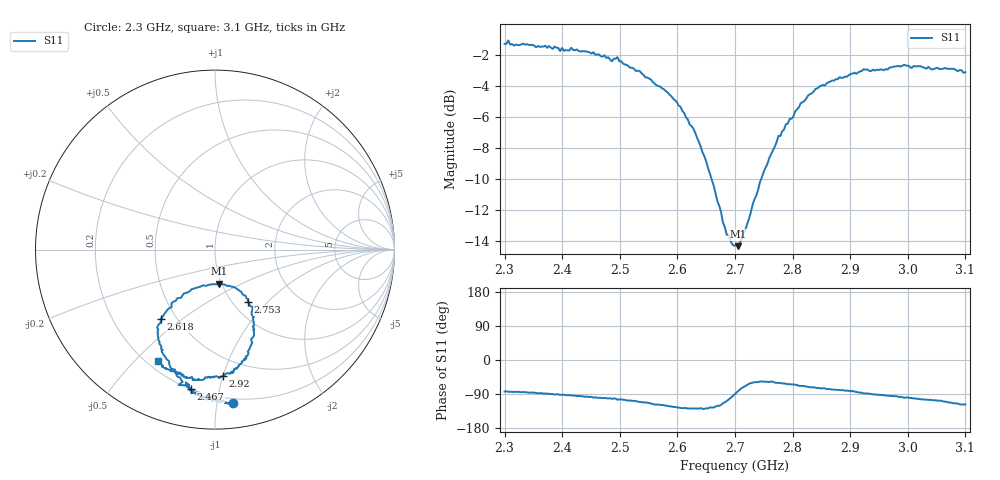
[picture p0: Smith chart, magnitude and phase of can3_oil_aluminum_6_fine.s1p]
# MHz S MA R 50
!  freq  S11
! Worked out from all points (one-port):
!   250 points, 2.3 GHz to 3.1 GHz, reference 50 ohm
!   lowest |S11| = -14.3 dB at 2.705 GHz (marker M1), VSWR 1.48, Z = 48.8 - j19.3 ohm
!   |S11| at or under -10 dB: 2.659 GHz to 2.745 GHz (86.13 MHz wide, 3.19 % of centre)
!   S11 on the Smith chart (normalised r, x): 2.3 GHz: 0.17, -1.11; 2.467 GHz: 0.20, -0.82; 2.618 GHz: 0.41, -0.42; 2.753 GHz: 1.18, -0.78; 2.92 GHz: 0.36, -1.00; 3.1 GHz: 0.24, -0.58
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2300  0.8623 -83.3
2306.426  0.8843 -83.9
2316.064  0.8515 -84.4
2402.811  0.8196 -91.4
2415.663  0.8379 -93.3
2467.068  0.7867 -99.7
2492.771  0.772 -101.7
2495.984  0.7813 -105.0
2502.41  0.7579 -104.0
2560.241  0.643 -117.4
2602.008  0.5457 -125.4
2618.072  0.4924 -127.9
2650.201  0.3592 -127.5
2685.542  0.2095 -108.3
2701.606  0.1937 -87.4
2704.819  0.1923 -82.5
2724.096  0.2348 -62.9
2753.012  0.3441 -57.7
2775.502  0.4356 -60.2
2801.205  0.5023 -64.4
2839.759  0.6177 -73.0
2900.803  0.6899 -82.7
2904.016  0.6911 -81.3
2920.08  0.7048 -86.4
2981.124  0.7301 -95.7
2993.976  0.7378 -99.8
3000.402  0.7338 -99.0
3100  0.6988 -117.2
